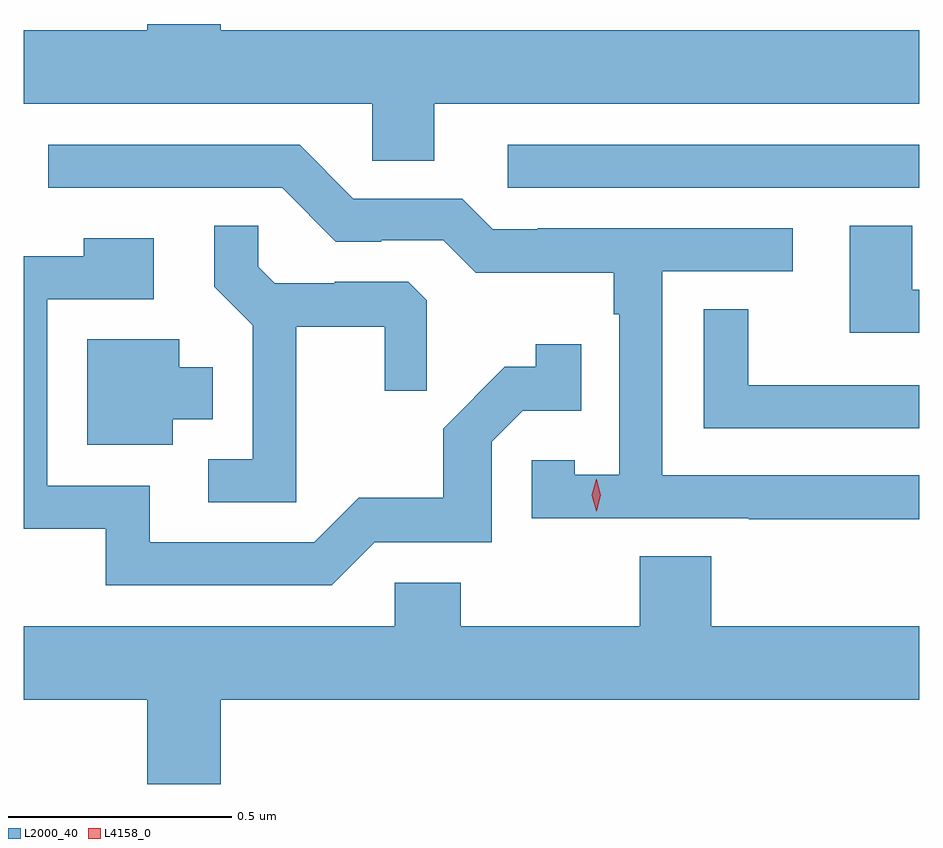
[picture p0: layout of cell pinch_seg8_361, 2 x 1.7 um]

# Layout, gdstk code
import gdstk
lib = gdstk.Library(unit=1e-6, precision=1e-09)
def R(c, l, rs):  # rectangles x0, y0, x1, y1
    for r in rs: c.add(gdstk.rectangle(r[:2], r[2:], *l))
def P(c, l, *ps):  # polygons
    for p in ps: c.add(gdstk.Polygon(p, *l))
L2000_40 = (2000, 40)
L4158_0 = (4158, 0)

pinch_seg8_361 = lib.new_cell('pinch_seg8_361')
R(pinch_seg8_361, L2000_40, [(381.597,1145.616,382.516,1145.712)])
P(pinch_seg8_361, L2000_40, [(381.433,1145.804),(382.516,1145.804),(382.516,1145.968),(380.956,1145.968),(380.956,1145.982),(380.792,1145.982),(380.792,1145.968),(380.516,1145.968),(380.516,1145.804),(381.294,1145.804),(381.294,1145.677),(381.433,1145.677)],
  [(382.516,1144.974),(381.942,1144.974),(381.942,1145.43),(382.234,1145.43),(382.234,1145.526),(381.664,1145.526),(381.664,1145.523),(381.564,1145.523),(381.495,1145.592),(381.252,1145.592),(381.132,1145.712),(380.57,1145.712),(380.57,1145.616),(381.093,1145.616),(381.213,1145.496),(381.314,1145.496),(381.314,1145.499),(381.453,1145.499),(381.526,1145.426),(381.834,1145.426),(381.834,1145.333),(381.846,1145.333),(381.846,1144.975),(381.747,1144.975),(381.747,1145.007),(381.651,1145.007),(381.651,1144.878),(382.135,1144.878),(382.135,1144.876),(382.516,1144.876)],
  [(381.125,1145.306),(381.322,1145.306),(381.322,1145.163),(381.416,1145.163),(381.416,1145.365),(381.375,1145.406),(381.21,1145.406),(381.21,1145.403),(381.076,1145.403),(381.039,1145.44),(381.039,1145.531),(380.941,1145.531),(380.941,1145.395),(381.027,1145.309),(381.027,1145.01),(380.928,1145.01),(380.928,1144.914),(381.125,1144.914)],
  [(382.516,1145.388),(382.501,1145.388),(382.501,1145.531),(382.361,1145.531),(382.361,1145.292),(382.516,1145.292)],
  [(381.3,1144.824),(381.561,1144.824),(381.561,1145.049),(381.63,1145.118),(381.761,1145.118),(381.761,1145.266),(381.66,1145.266),(381.66,1145.216),(381.59,1145.216),(381.453,1145.078),(381.453,1144.923),(381.264,1144.923),(381.165,1144.824),(380.797,1144.824),(380.797,1144.95),(380.568,1144.95),(380.568,1145.367),(380.806,1145.367),(380.806,1145.503),(380.65,1145.503),(380.65,1145.463),(380.516,1145.463),(380.516,1144.854),(380.699,1144.854),(380.699,1144.728),(381.204,1144.728)],
  [(382.516,1145.175),(382.134,1145.175),(382.134,1145.345),(382.035,1145.345),(382.035,1145.079),(382.516,1145.079)],
  [(380.848,1145.099),(380.938,1145.099),(380.938,1145.215),(380.863,1145.215),(380.863,1145.278),(380.657,1145.278),(380.657,1145.042),(380.848,1145.042)],
  [(380.956,1144.472),(382.516,1144.472),(382.516,1144.636),(382.052,1144.636),(382.052,1144.793),(381.892,1144.793),(381.892,1144.636),(381.492,1144.636),(381.492,1144.734),(381.345,1144.734),(381.345,1144.636),(380.516,1144.636),(380.516,1144.472),(380.792,1144.472),(380.792,1144.284),(380.956,1144.284)])
P(pinch_seg8_361, L4158_0, [(381.795,1144.893),(381.795,1144.894),(381.785,1144.929),(381.795,1144.965),(381.795,1144.965),(381.796,1144.965),(381.805,1144.929),(381.796,1144.894)])

lib.write_gds('pinch_seg8_361.gds')
